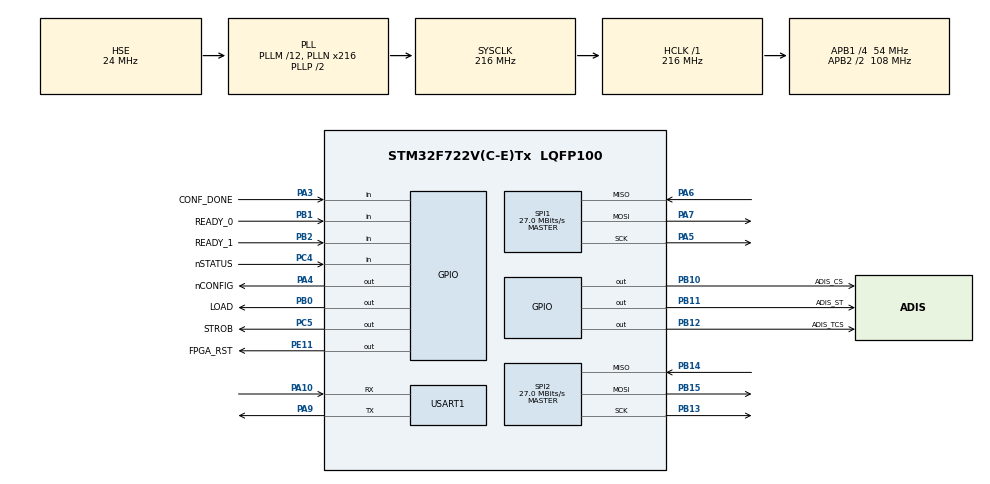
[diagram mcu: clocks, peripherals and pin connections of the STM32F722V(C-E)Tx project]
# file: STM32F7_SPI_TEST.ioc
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FREERTOS.Tasks01=defaultTask,-3,128,StartDefaultTask,Default,NULL,Dynamic,NULL,NULL
Mcu.Family=STM32F7
Mcu.Name=STM32F722V(C-E)Tx
Mcu.Package=LQFP100
NVIC.PriorityGroup=NVIC_PRIORITYGROUP_4
NVIC.USART1_IRQn=true\:5\:0\:false\:false\:true\:true\:true
PA10.Mode=Asynchronous
PA10.Signal=USART1_RX
PA13.GPIO_Label=TMS
PA13.Mode=Serial_Wire
PA13.Signal=SYS_JTMS-SWDIO
PA14.GPIO_Label=TCK
PA14.Mode=Serial_Wire
PA14.Signal=SYS_JTCK-SWCLK
PA3.GPIO_Label=CONF_DONE
PA3.Signal=GPIO_Input
PA4.GPIO_Label=nCONFIG
PA4.Signal=GPIO_Output
PA5.Mode=Full_Duplex_Master
PA5.Signal=SPI1_SCK
PA6.Mode=Full_Duplex_Master
PA6.Signal=SPI1_MISO
PA7.Mode=Full_Duplex_Master
PA7.Signal=SPI1_MOSI
PA9.Mode=Asynchronous
PA9.Signal=USART1_TX
PB0.GPIO_Label=LOAD
PB0.Signal=GPIO_Output
PB1.GPIO_Label=READY_0
PB1.Signal=GPIO_Input
PB10.GPIO_Label=ADIS_CS
PB10.Signal=GPIO_Output
PB11.GPIO_Label=ADIS_ST
PB11.Signal=GPIO_Output
PB12.GPIO_Label=ADIS_TCS
PB12.Signal=GPIO_Output
PB13.Mode=Full_Duplex_Master
PB13.Signal=SPI2_SCK
PB14.Mode=Full_Duplex_Master
PB14.Signal=SPI2_MISO
PB15.Mode=Full_Duplex_Master
PB15.Signal=SPI2_MOSI
PB2.GPIO_Label=READY_1
PB2.Signal=GPIO_Input
PC4.GPIO_Label=nSTATUS
PC4.Signal=GPIO_Input
PC5.GPIO_Label=STROB
PC5.Signal=GPIO_Output
PE11.GPIO_Label=FPGA_RST
PE11.Signal=GPIO_Output
PH0-OSC_IN.GPIO_Label=MCO [STM32F103CBT6_PA8]
PH0-OSC_IN.Mode=HSE-External-Oscillator
PH0-OSC_IN.Signal=RCC_OSC_IN
PH1-OSC_OUT.Mode=HSE-External-Oscillator
PH1-OSC_OUT.Signal=RCC_OSC_OUT
ProjectManager.HeapSize=0x2000
ProjectManager.StackSize=0x4000
ProjectManager.TargetToolchain=MDK-ARM V5
RCC.AHBFreq_Value=216000000
RCC.APB1CLKDivider=RCC_HCLK_DIV4
RCC.APB1Freq_Value=54000000
RCC.APB1TimFreq_Value=108000000
RCC.APB2CLKDivider=RCC_HCLK_DIV2
RCC.APB2Freq_Value=108000000
RCC.APB2TimFreq_Value=216000000
RCC.CortexFreq_Value=216000000
RCC.HCLKFreq_Value=216000000
RCC.HSE_VALUE=24000000
RCC.HSI_VALUE=16000000
RCC.LSE_VALUE=32768
RCC.PLLM=12
RCC.PLLN=216
RCC.PLLSourceVirtual=RCC_PLLSOURCE_HSE
RCC.SYSCLKFreq_VALUE=216000000
RCC.SYSCLKSource=RCC_SYSCLKSOURCE_PLLCLK
RCC.USBFreq_Value=216000000
RCC.VCOOutputFreq_Value=432000000
SPI1.BaudRatePrescaler=SPI_BAUDRATEPRESCALER_4
SPI1.CalculateBaudRate=27.0 MBits/s
SPI1.DataSize=SPI_DATASIZE_8BIT
SPI1.Direction=SPI_DIRECTION_2LINES
SPI1.Mode=SPI_MODE_MASTER
SPI1.NSSPMode=SPI_NSS_PULSE_DISABLE
SPI1.VirtualType=VM_MASTER
SPI2.CalculateBaudRate=27.0 MBits/s
SPI2.DataSize=SPI_DATASIZE_16BIT
SPI2.Direction=SPI_DIRECTION_2LINES
SPI2.Mode=SPI_MODE_MASTER
SPI2.NSSPMode=SPI_NSS_PULSE_DISABLE
SPI2.VirtualType=VM_MASTER
USART1.VirtualMode-Asynchronous=VM_ASYNC
USART1.WordLength=WORDLENGTH_8B
VP_FREERTOS_VS_ENABLE.Mode=Enabled
board=STM32F7_SPI_TEST

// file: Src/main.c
/**
  ******************************************************************************
  * @file           : main.c
  * @brief          : Main program body
  ******************************************************************************
  * This notice applies to any and all portions of this file
  * that are not between comment pairs USER CODE BEGIN and
  * USER CODE END. Other portions of this file, whether
  * inserted by the user or by software development tools
  * are owned by their respective copyright owners.
  *
  * Copyright (c) 2018 STMicroelectronics International N.V.
  * All rights reserved.
  *
  * Redistribution and use in source and binary forms, with or without
  * modification, are permitted, provided that the following conditions are met:
  *
  * 1. Redistribution of source code must retain the above copyright notice,
  *    this list of conditions and the following disclaimer.
  * 2. Redistributions in binary form must reproduce the above copyright notice,
  *    this list of conditions and the following disclaimer in the documentation
  *    and/or other materials provided with the distribution.
  * 3. Neither the name of STMicroelectronics nor the names of other
  *    contributors to this software may be used to endorse or promote products
  *    derived from this software without specific written permission.
  * 4. This software, including modifications and/or derivative works of this
  *    software, must execute solely and exclusively on microcontroller or
  *    microprocessor devices manufactured by or for STMicroelectronics.
  * 5. Redistribution and use of this software other than as permitted under
  *    this license is void and will automatically terminate your rights under
  *    this license.
  *
  * THIS SOFTWARE IS PROVIDED BY STMICROELECTRONICS AND CONTRIBUTORS "AS IS"
  * AND ANY EXPRESS, IMPLIED OR STATUTORY WARRANTIES, INCLUDING, BUT NOT
  * LIMITED TO, THE IMPLIED WARRANTIES OF MERCHANTABILITY, FITNESS FOR A
  * PARTICULAR PURPOSE AND NON-INFRINGEMENT OF THIRD PARTY INTELLECTUAL PROPERTY
  * RIGHTS ARE DISCLAIMED TO THE FULLEST EXTENT PERMITTED BY LAW. IN NO EVENT
  * SHALL STMICROELECTRONICS OR CONTRIBUTORS BE LIABLE FOR ANY DIRECT, INDIRECT,
  * INCIDENTAL, SPECIAL, EXEMPLARY, OR CONSEQUENTIAL DAMAGES (INCLUDING, BUT NOT
  * LIMITED TO, PROCUREMENT OF SUBSTITUTE GOODS OR SERVICES; LOSS OF USE, DATA,
  * OR PROFITS; OR BUSINESS INTERRUPTION) HOWEVER CAUSED AND ON ANY THEORY OF
  * LIABILITY, WHETHER IN CONTRACT, STRICT LIABILITY, OR TORT (INCLUDING
  * NEGLIGENCE OR OTHERWISE) ARISING IN ANY WAY OUT OF THE USE OF THIS SOFTWARE,
  * EVEN IF ADVISED OF THE POSSIBILITY OF SUCH DAMAGE.
  *
  ******************************************************************************
  */
#include "main.h"
#include "stm32f7xx_hal.h"
#include "cmsis_os.h"
#include "spi.h"
#include "usart.h"
#include "gpio.h"

/* USER CODE BEGIN Includes */
#include "m2_modem.h"
#include "UART-interrupt-driven-command-console.h"
#include "altera_conf.h"
/* USER CODE END Includes */

/* USER CODE BEGIN PV */
/* Private variables ---------------------------------------------------------*/

/* USER CODE END PV */

void SystemClock_Config(void);
void MX_FREERTOS_Init(void);

/* USER CODE BEGIN PFP */
/* Private function prototypes -----------------------------------------------*/

/* USER CODE END PFP */

int main(void)
{

  /* MCU Configuration----------------------------------------------------------*/

  /* Reset of all peripherals, Initializes the Flash interface and the Systick. */
  HAL_Init();

  /* Configure the system clock */
  SystemClock_Config();

  /* Initialize all configured peripherals */
  MX_GPIO_Init();
  MX_SPI1_Init();
  MX_USART1_UART_Init();
  MX_SPI2_Init();

  /* Call init function for freertos objects (in freertos.c) */
  MX_FREERTOS_Init();

  /* Start scheduler */
  osKernelStart();

  /* We should never get here as control is now taken by the scheduler */

  /* Infinite loop */
  while (1)
  {

  }

}

void SystemClock_Config(void)
{

  RCC_OscInitTypeDef RCC_OscInitStruct;
  RCC_ClkInitTypeDef RCC_ClkInitStruct;
  RCC_PeriphCLKInitTypeDef PeriphClkInitStruct;

    /**Configure the main internal regulator output voltage
    */
  __HAL_RCC_PWR_CLK_ENABLE();

  __HAL_PWR_VOLTAGESCALING_CONFIG(PWR_REGULATOR_VOLTAGE_SCALE1);

    /**Initializes the CPU, AHB and APB busses clocks
    */
  RCC_OscInitStruct.OscillatorType = RCC_OSCILLATORTYPE_HSE;
  RCC_OscInitStruct.HSEState = RCC_HSE_ON;
  RCC_OscInitStruct.PLL.PLLState = RCC_PLL_ON;
  RCC_OscInitStruct.PLL.PLLSource = RCC_PLLSOURCE_HSE;
  RCC_OscInitStruct.PLL.PLLM = 12;
  RCC_OscInitStruct.PLL.PLLN = 216;
  RCC_OscInitStruct.PLL.PLLP = RCC_PLLP_DIV2;
  RCC_OscInitStruct.PLL.PLLQ = 2;
  if (HAL_RCC_OscConfig(&RCC_OscInitStruct) != HAL_OK)
  {
    _Error_Handler(__FILE__, __LINE__);
  }

    /**Activate the Over-Drive mode
    */
  if (HAL_PWREx_EnableOverDrive() != HAL_OK)
  {
    _Error_Handler(__FILE__, __LINE__);
  }

    /**Initializes the CPU, AHB and APB busses clocks
    */
  RCC_ClkInitStruct.ClockType = RCC_CLOCKTYPE_HCLK|RCC_CLOCKTYPE_SYSCLK
                              |RCC_CLOCKTYPE_PCLK1|RCC_CLOCKTYPE_PCLK2;
  RCC_ClkInitStruct.SYSCLKSource = RCC_SYSCLKSOURCE_PLLCLK;
  RCC_ClkInitStruct.AHBCLKDivider = RCC_SYSCLK_DIV1;
  RCC_ClkInitStruct.APB1CLKDivider = RCC_HCLK_DIV4;
  RCC_ClkInitStruct.APB2CLKDivider = RCC_HCLK_DIV2;

  if (HAL_RCC_ClockConfig(&RCC_ClkInitStruct, FLASH_LATENCY_7) != HAL_OK)
  {
    _Error_Handler(__FILE__, __LINE__);
  }

  PeriphClkInitStruct.PeriphClockSelection = RCC_PERIPHCLK_USART1;
  PeriphClkInitStruct.Usart1ClockSelection = RCC_USART1CLKSOURCE_PCLK2;
  if (HAL_RCCEx_PeriphCLKConfig(&PeriphClkInitStruct) != HAL_OK)
  {
    _Error_Handler(__FILE__, __LINE__);
  }

    /**Configure the Systick interrupt time
    */
  HAL_SYSTICK_Config(HAL_RCC_GetHCLKFreq()/1000);

    /**Configure the Systick
    */
  HAL_SYSTICK_CLKSourceConfig(SYSTICK_CLKSOURCE_HCLK);

  /* SysTick_IRQn interrupt configuration */
  HAL_NVIC_SetPriority(SysTick_IRQn, 15, 0);
}

/* USER CODE BEGIN 4 */

#define M2_ADDR_DEVAULT 		0x7860//16'b0111_1xx0_011x_xxxx;
#define TEST_SEND_DATA_LEN		24
#define TEST_RECV_DATA_LEN		(72+3)//+ CRC16 CITT
uint16_t snd_data[TEST_SEND_DATA_LEN]={M2_ADDR_DEVAULT, 0x5521, 0xFF00, 0x00FF,0x0003, 0x0004, 0x0008, 0x0006, 0x0007, 0x0008, 0x0009, 0x000A, 0x000B};
uint8_t rcv_data[TEST_RECV_DATA_LEN];
uint16_t realCRC16;
uint16_t hardwareCRC16;
/* USER CODE END 4 */

void _Error_Handler(char *file, int line)
{
  while(1)
  {
  }
}

/************************ (C) COPYRIGHT STMicroelectronics *****END OF FILE****/

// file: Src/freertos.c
/**
  ******************************************************************************
  * File Name          : freertos.c
  * Description        : Code for freertos applications
  ******************************************************************************
  * This notice applies to any and all portions of this file
  * that are not between comment pairs USER CODE BEGIN and
  * USER CODE END. Other portions of this file, whether
  * inserted by the user or by software development tools
  * are owned by their respective copyright owners.
  *
  * Copyright (c) 2018 STMicroelectronics International N.V.
  * All rights reserved.
  *
  * Redistribution and use in source and binary forms, with or without
  * modification, are permitted, provided that the following conditions are met:
  *
  * 1. Redistribution of source code must retain the above copyright notice,
  *    this list of conditions and the following disclaimer.
  * 2. Redistributions in binary form must reproduce the above copyright notice,
  *    this list of conditions and the following disclaimer in the documentation
  *    and/or other materials provided with the distribution.
  * 3. Neither the name of STMicroelectronics nor the names of other
  *    contributors to this software may be used to endorse or promote products
  *    derived from this software without specific written permission.
  * 4. This software, including modifications and/or derivative works of this
  *    software, must execute solely and exclusively on microcontroller or
  *    microprocessor devices manufactured by or for STMicroelectronics.
  * 5. Redistribution and use of this software other than as permitted under
  *    this license is void and will automatically terminate your rights under
  *    this license.
  *
  * THIS SOFTWARE IS PROVIDED BY STMICROELECTRONICS AND CONTRIBUTORS "AS IS"
  * AND ANY EXPRESS, IMPLIED OR STATUTORY WARRANTIES, INCLUDING, BUT NOT
  * LIMITED TO, THE IMPLIED WARRANTIES OF MERCHANTABILITY, FITNESS FOR A
  * PARTICULAR PURPOSE AND NON-INFRINGEMENT OF THIRD PARTY INTELLECTUAL PROPERTY
  * RIGHTS ARE DISCLAIMED TO THE FULLEST EXTENT PERMITTED BY LAW. IN NO EVENT
  * SHALL STMICROELECTRONICS OR CONTRIBUTORS BE LIABLE FOR ANY DIRECT, INDIRECT,
  * INCIDENTAL, SPECIAL, EXEMPLARY, OR CONSEQUENTIAL DAMAGES (INCLUDING, BUT NOT
  * LIMITED TO, PROCUREMENT OF SUBSTITUTE GOODS OR SERVICES; LOSS OF USE, DATA,
  * OR PROFITS; OR BUSINESS INTERRUPTION) HOWEVER CAUSED AND ON ANY THEORY OF
  * LIABILITY, WHETHER IN CONTRACT, STRICT LIABILITY, OR TORT (INCLUDING
  * NEGLIGENCE OR OTHERWISE) ARISING IN ANY WAY OUT OF THE USE OF THIS SOFTWARE,
  * EVEN IF ADVISED OF THE POSSIBILITY OF SUCH DAMAGE.
  *
  ******************************************************************************
  */

#include "FreeRTOS.h"
#include "task.h"
#include "cmsis_os.h"

/* USER CODE BEGIN Includes */
#include "m2_modem.h"
#include "UART-interrupt-driven-command-console.h"
#include "altera_conf.h"
#include "adis_accel.h"
/* USER CODE END Includes */

osThreadId defaultTaskHandle;

void StartDefaultTask(void const * argument);

void MX_FREERTOS_Init(void); /* (MISRA C 2004 rule 8.1) */

/* Hook prototypes */

/* Init FreeRTOS */

void MX_FREERTOS_Init(void) {

  /* Create the thread(s) */
  /* definition and creation of defaultTask */
  osThreadDef(defaultTask, StartDefaultTask, osPriorityIdle, 0, 128);
  defaultTaskHandle = osThreadCreate(osThread(defaultTask), NULL);

}

/* StartDefaultTask function */
int16_t accelResult = 0;
void StartDefaultTask(void const * argument)
{

  /* USER CODE BEGIN StartDefaultTask */
	vTaskDelay(100);
	AlteraConf_Init();
	AlteraConf_ConfigureFPGA();
	vUARTCommandConsoleStart();
	M2_Modem_Init();
//	ADIS_Accel_Init();
//	ADIS_Accel_SetTestMode(0);
  /* Infinite loop */
  for(;;)
  {
//		accelResult = (int16_t)ADIS_Accel_Read(ADIS_AXIS_X);
    osDelay(100);
  }
  /* USER CODE END StartDefaultTask */
}

/************************ (C) COPYRIGHT STMicroelectronics *****END OF FILE****/
